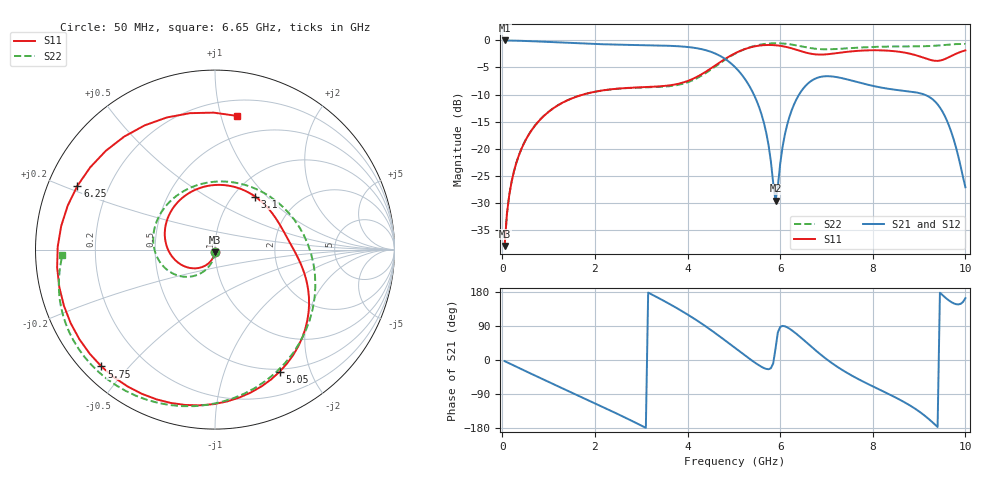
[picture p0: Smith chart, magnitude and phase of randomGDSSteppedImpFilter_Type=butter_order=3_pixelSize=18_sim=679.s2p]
! freq	dB(S11)	phase(S11)	dB(S12)	phase(S12)
!  dB(S21)	phase(S21)	dB(S22)	phase(S22)
!S-par simulation data
#  GHz  S  DB  R 50
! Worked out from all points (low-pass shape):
!   200 points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, 50 MHz to 10 GHz, reference 50 ohm
!   highest |S21| = 0.00 dB at 50 MHz (marker M1); lowest = -29.6 dB at 5.9 GHz (marker M2)
!   |S21| within 3 dB of the highest: start of sweep to 4.733 GHz
!   lowest |S11| = -38.0 dB at 50 MHz (marker M3), VSWR 1.03, Z = 49.9 - j1.25 ohm
!   |S11| at or under -10 dB: start of sweep to 1.749 GHz
!   |S22| runs from -38.0 to -0.5 dB; largest |S21 - S12| = 0
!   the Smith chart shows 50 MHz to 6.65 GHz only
!   S11 on the Smith chart (normalised r, x): 50 MHz: 1.00, -0.03; 3.1 GHz: 1.25, +0.86; 5.05 GHz: 0.47, -1.56; 5.75 GHz: 0.06, -0.42; 6.25 GHz: 0.09, +0.22; 6.65 GHz: 0.32, +1.12
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0.05  -38.00 -93.7  -0.00 -3.0  -0.00 -3.0  -38.04 -92.5
0.2  -26.15 -104.6  -0.03 -11.7  -0.03 -11.7  -26.13 -99.8
0.5  -18.49 -125.8  -0.10 -29.2  -0.10 -29.2  -18.48 -113.7
1.75  -10.00 146.4  -0.58 -100.2  -0.58 -100.2  -9.99 -168.2
3.1  -8.62 52.9  -0.88 -179.0  -0.88 -179.0  -8.68 128.2
3.4  -8.48 34.8  -0.94 161.9  -0.94 161.9  -8.60 108.3
4.3  -6.27 -9.7  -1.61 96.5  -1.61 96.5  -6.53 20.8
5.05  -2.27 -62.1  -5.14 29.4  -5.14 29.4  -2.34 -63.6
5.45  -1.10 -100.7  -10.33 -6.5  -10.33 -6.5  -1.00 -101.8
5.75  -0.84 -134.2  -19.38 -24.4  -19.38 -24.4  -0.58 -126.2
5.9  -0.89 -153.0  -29.65 30.0  -29.65 30.0  -0.52 -137.2
6.25  -1.46 155.2  -12.89 78.6  -12.89 78.6  -0.76 -159.4
6.65  -2.44 80.8  -7.61 37.7  -7.61 37.7  -1.41 -178.1
6.7  -2.52 71.0  -7.33 32.4  -7.33 32.4  -1.47 -179.9
6.95  -2.60 24.7  -6.64 7.0  -6.64 7.0  -1.64 172.0
7.2  -2.37 -14.1  -6.75 -15.2  -6.75 -15.2  -1.59 164.1
7.75  -1.89 -75.6  -7.88 -54.3  -7.88 -54.3  -1.30 145.5
8.35  -1.90 -127.5  -8.96 -90.3  -8.96 -90.3  -1.13 124.6
8.95  -2.79 166.9  -9.63 -131.5  -9.63 -131.5  -1.09 104.3
9.35  -3.77 86.9  -11.34 -171.1  -11.34 -171.1  -0.98 91.3
9.65  -3.07 10.7  -15.85 156.7  -15.85 156.7  -0.76 80.6
10  -1.84 -52.8  -27.14 163.2  -27.14 163.2  -0.66 66.4
